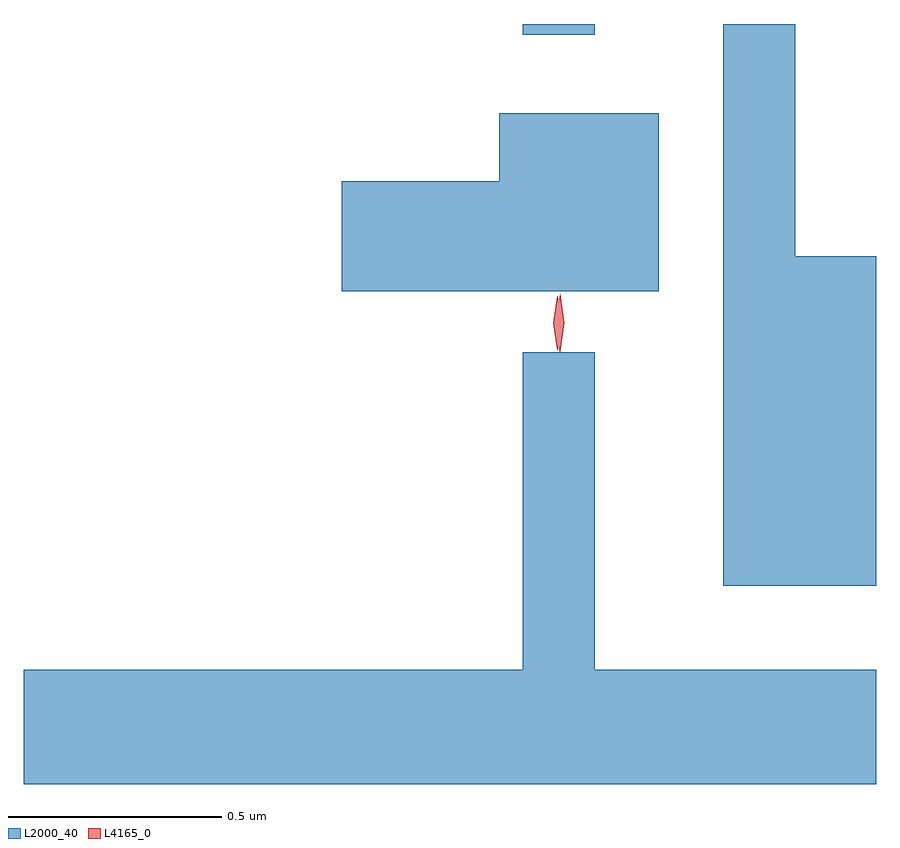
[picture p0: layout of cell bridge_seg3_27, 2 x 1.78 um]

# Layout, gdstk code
import gdstk
lib = gdstk.Library(unit=1e-6, precision=1e-09)
def R(c, l, rs):  # rectangles x0, y0, x1, y1
    for r in rs: c.add(gdstk.rectangle(r[:2], r[2:], *l))
def P(c, l, *ps):  # polygons
    for p in ps: c.add(gdstk.Polygon(p, *l))
L2000_40 = (2000, 40)
L4165_0 = (4165, 0)

bridge_seg3_27 = lib.new_cell('bridge_seg3_27')
R(bridge_seg3_27, L2000_40, [(1439.311,1152.193,1439.479,1152.218)])
P(bridge_seg3_27, L2000_40, [(1440.14,1151.674),(1439.949,1151.674),(1439.949,1152.218),(1439.781,1152.218),(1439.781,1150.901),(1440.14,1150.901)],
  [(1439.629,1152.009),(1439.256,1152.009),(1439.256,1151.849),(1438.886,1151.849),(1438.886,1151.591),(1439.629,1151.591)],
  [(1440.14,1150.704),(1439.479,1150.704),(1439.479,1151.448),(1439.311,1151.448),(1439.311,1150.704),(1438.14,1150.704),(1438.14,1150.436),(1440.14,1150.436)])
P(bridge_seg3_27, L4165_0, [(1439.397,1151.45),(1439.397,1151.45),(1439.388,1151.518),(1439.398,1151.586),(1439.399,1151.586),(1439.399,1151.586),(1439.408,1151.518),(1439.398,1151.45)],
  [(1439.392,1151.453),(1439.392,1151.454),(1439.382,1151.516),(1439.392,1151.58),(1439.392,1151.58),(1439.393,1151.58),(1439.402,1151.516),(1439.393,1151.454)])

lib.write_gds('bridge_seg3_27.gds')
